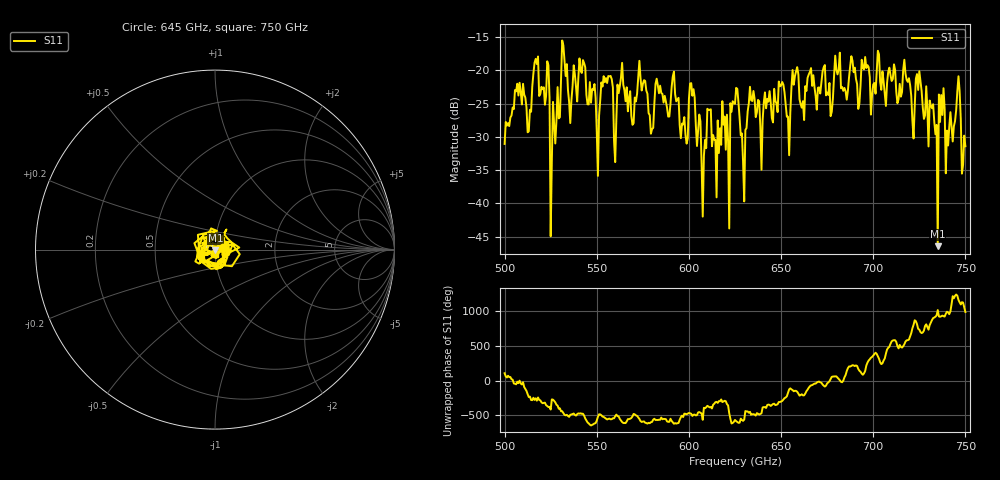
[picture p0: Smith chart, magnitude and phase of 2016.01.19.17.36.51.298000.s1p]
!Created with skrf (http://scikit-rf.org).
# GHz S RI R 50.0
!freq ReS11 ImS11
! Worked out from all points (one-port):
!   401 points, 500 GHz to 750 GHz, reference 50 ohm
!   lowest |S11| = -46.5 dB at 735 GHz (marker M1), VSWR 1.01, Z = 50.2 - j0.431 ohm
!   |S11| at or under -10 dB: start of sweep to end of sweep
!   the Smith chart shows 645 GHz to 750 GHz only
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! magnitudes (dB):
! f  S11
! 500 GHz  -31.1
! 506.9 GHz  -22.0
! 513.1 GHz  -29.2
! 516.9 GHz  -18.3
! 523.1 GHz  -18.6
! 526.2 GHz  -24.8
! 531.2 GHz  -15.5
! 542.5 GHz  -18.5
! 550.6 GHz  -35.9
! 562.5 GHz  -22.4
! 593.8 GHz  -24.4
! 598.1 GHz  -29.7
! 601.9 GHz  -23.8
! 608.1 GHz  -32.9
! 610.6 GHz  -26.0
! 620.6 GHz  -26.7
! 625 GHz  -25.1
! 629.4 GHz  -33.8
! 633.8 GHz  -24.5
! 653.8 GHz  -27.0
! 656.2 GHz  -20.0
! 687.5 GHz  -19.4
! 718.8 GHz  -21.7
! 735 GHz  -46.5
! 736.9 GHz  -23.7
! 740.6 GHz  -31.3
! 746.2 GHz  -20.9
! 750 GHz  -31.4
